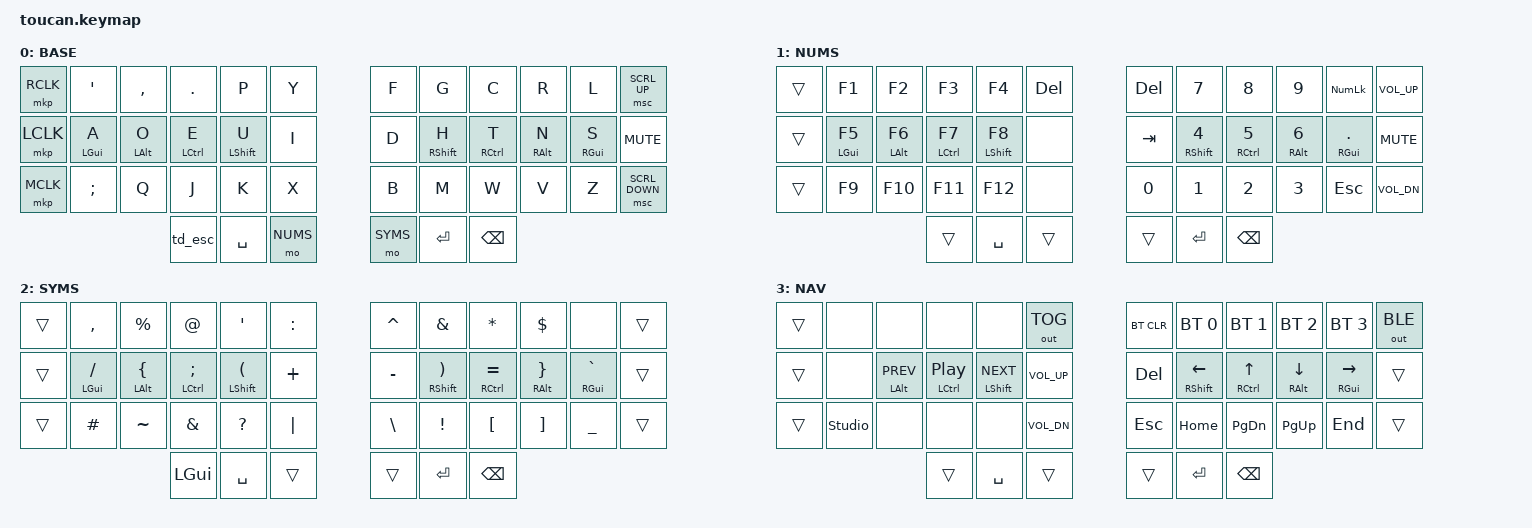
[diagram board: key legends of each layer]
/*
 * Toucan Wireless Piantor keymap
 * Ported from zmk_chocofi corne.keymap (Dvorak + homerow mods)
 * Outer left col:  RCLK / LCLK / MCLK
 * Outer right col: SCRL_UP / MUTE / SCRL_DN  (base); VOL_UP / MUTE / VOL_DN (NUMS)
 */

#include <behaviors.dtsi>
#include <dt-bindings/zmk/keys.h>
#include <dt-bindings/zmk/bt.h>
#include <dt-bindings/zmk/outputs.h>
#include <dt-bindings/zmk/mouse.h>

#define BASE 0
#define NUMS 1
#define SYMS 2
#define NAV  3

/ {
    behaviors {
        hm: homerow_mods {
            compatible = "zmk,behavior-hold-tap";
            #binding-cells = <2>;
            tapping-term-ms = <180>;
            quick-tap-ms = <175>;
            require-prior-idle-ms = <150>;
            flavor = "balanced";
            bindings = <&kp>, <&kp>;
        };
        td_esc: tap_dance_esc {
            compatible = "zmk,behavior-tap-dance";
            #binding-cells = <0>;
            tapping-term-ms = <200>;
            bindings = <&kp ESC>, <&kp TAB>;
        };
    };

    conditional_layers {
        compatible = "zmk,conditional-layers";
        nav_layer {
            if-layers = <NUMS SYMS>;
            then-layer = <NAV>;
        };
    };

    keymap {
        compatible = "zmk,keymap";

        base {
            display-name = "BASE";
// ╭──────┬──────┬──────┬──────┬──────┬──────╮   ╭──────┬──────┬──────┬──────┬──────┬──────╮
// │ RCLK │  '   │  ,   │  .   │  P   │  Y   │   │  F   │  G   │  C   │  R   │  L   │SCR↑  │
// │ LCLK │ A/⌘  │ O/⌥  │ E/⌃  │ U/⇧  │  I   │   │  D   │ H/⇧  │ T/⌃  │ N/⌥  │ S/⌘  │ MUTE │
// │ MCLK │  ;   │  Q   │  J   │  K   │  X   │   │  B   │  M   │  W   │  V   │  Z   │SCR↓  │
// ╰──────┴──────┴──────┼──────┼──────┼──────┤   ├──────┼──────┼──────┼──────┴──────┴──────╯
//                      │ES/TB │ SPC  │ NUMS │   │ SYMS │ ENT  │ BSPC │
//                      ╰──────┴──────┴──────╯   ╰──────┴──────┴──────╯
            bindings = <
   &mkp RCLK     &kp SQT      &kp COMMA    &kp DOT      &kp P        &kp Y      &kp F    &kp G        &kp C        &kp R        &kp L        &msc SCRL_UP
   &mkp LCLK     &hm LGUI A   &hm LALT O   &hm LCTRL E  &hm LSHFT U  &kp I      &kp D    &hm RSHFT H  &hm RCTRL T  &hm RALT N   &hm RGUI S   &kp C_MUTE
   &mkp MCLK     &kp SEMI     &kp Q        &kp J        &kp K        &kp X      &kp B    &kp M        &kp W        &kp V        &kp Z        &msc SCRL_DOWN
                                           &td_esc      &kp SPACE    &mo NUMS   &mo SYMS &kp RET      &kp BSPC
            >;
        };

        nums {
            display-name = "NUMS";
// ╭──────┬──────┬──────┬──────┬──────┬──────╮   ╭──────┬──────┬──────┬──────┬──────┬──────╮
// │      │  F1  │  F2  │  F3  │  F4  │ DEL  │   │ DEL  │  7   │  8   │  9   │ NUM  │ VOLU │
// │      │ F5/⌘ │ F6/⌥ │ F7/⌃ │ F8/⇧ │      │   │ TAB  │ 4/⇧  │ 5/⌃  │ 6/⌥  │ ./⌘  │ MUTE │
// │      │  F9  │  F10 │  F11 │  F12 │      │   │  0   │  1   │  2   │  3   │ ESC  │ VOLD │
// ╰──────┴──────┴──────┼──────┼──────┼──────┤   ├──────┼──────┼──────┼──────┴──────┴──────╯
//                      │      │ SPC  │      │   │      │ ENT  │ BSPC │
//                      ╰──────┴──────┴──────╯   ╰──────┴──────┴──────╯
            bindings = <
   &trans  &kp F1       &kp F2       &kp F3       &kp F4       &kp DEL    &kp DEL  &kp N7       &kp N8       &kp N9       &kp KP_NUM   &kp C_VOL_UP
   &trans  &hm LGUI F5  &hm LALT F6  &hm LCTRL F7 &hm LSHFT F8 &none      &kp TAB  &hm RSHFT N4 &hm RCTRL N5 &hm RALT N6  &hm RGUI DOT &kp C_MUTE
   &trans  &kp F9       &kp F10      &kp F11      &kp F12      &none      &kp N0   &kp N1       &kp N2       &kp N3       &kp ESC      &kp C_VOL_DN
                                     &trans       &kp SPACE    &trans     &trans   &kp RET      &kp BSPC
            >;
        };

        syms {
            display-name = "SYMS";
// ╭──────┬──────┬──────┬──────┬──────┬──────╮   ╭──────┬──────┬──────┬──────┬──────┬──────╮
// │      │  ,   │  %   │  @   │  '   │  :   │   │  ^   │  &   │  *   │  $   │      │      │
// │      │ //⌘  │ {/⌥  │ ;/⌃  │ (/⇧  │  +   │   │  -   │ )/⇧  │ =/⌃  │ }/⌥  │ `/⌘  │      │
// │      │  #   │  ~   │  &   │  ?   │  |   │   │  \   │  !   │  [   │  ]   │  _   │      │
// ╰──────┴──────┴──────┼──────┼──────┼──────┤   ├──────┼──────┼──────┼──────┴──────┴──────╯
//                      │ GUI  │ SPC  │      │   │      │ ENT  │ BSPC │
//                      ╰──────┴──────┴──────╯   ╰──────┴──────┴──────╯
            bindings = <
   &trans  &kp COMMA      &kp PRCNT     &kp AT        &kp SQT       &kp COLON   &kp CARET  &kp AMPS       &kp ASTRK       &kp DLLR      &none          &trans
   &trans  &hm LGUI FSLH  &hm LALT LBRC &hm LCTRL SEMI &hm LSHFT LPAR &kp PLUS  &kp MINUS  &hm RSHFT RPAR &hm RCTRL EQUAL &hm RALT RBRC &hm RGUI GRAVE &trans
   &trans  &kp HASH       &kp TILDE     &kp AMPS      &kp QMARK     &kp PIPE    &kp BSLH   &kp EXCL       &kp LBKT        &kp RBKT      &kp UNDER      &trans
                                        &kp LGUI      &kp SPACE     &trans      &trans     &kp RET        &kp BSPC
            >;
        };

        nav {
            display-name = "NAV";
// ╭──────┬──────┬──────┬──────┬──────┬──────╮   ╭──────┬──────┬──────┬──────┬──────┬──────╮
// │      │      │      │      │      │ TOG  │   │BTCLR │ BT1  │ BT2  │ BT3  │ BT4  │ BLE  │
// │      │      │ PRV/⌥│ PP/⌃ │ NXT/⇧│ VOLU │   │ DEL  │ ←/⇧  │ ↑/⌃  │ ↓/⌥  │ →/⌘  │      │
// │      │UNLCK │      │      │      │ VOLD │   │ ESC  │ HOME │ PGDN │ PGUP │ END  │      │
// ╰──────┴──────┴──────┼──────┼──────┼──────┤   ├──────┼──────┼──────┼──────┴──────┴──────╯
//                      │      │ SPC  │      │   │      │ ENT  │ BSPC │
//                      ╰──────┴──────┴──────╯   ╰──────┴──────┴──────╯
            bindings = <
   &trans  &none          &none           &none          &none           &out OUT_TOG   &bt BT_CLR &bt BT_SEL 0   &bt BT_SEL 1  &bt BT_SEL 2  &bt BT_SEL 3   &out OUT_BLE
   &trans  &none          &hm LALT C_PREV &hm LCTRL C_PP &hm LSHFT C_NEXT &kp C_VOL_UP  &kp DEL   &hm RSHFT LEFT &hm RCTRL UP  &hm RALT DOWN &hm RGUI RIGHT &trans
   &trans  &studio_unlock &none           &none          &none           &kp C_VOL_DN   &kp ESC   &kp HOME       &kp PG_DN     &kp PG_UP     &kp END        &trans
                                          &trans         &kp SPACE       &trans         &trans    &kp RET        &kp BSPC
            >;
        };

        extra_1 {
            status = "reserved";
        };

        extra_2 {
            status = "reserved";
        };

        extra_3 {
            status = "reserved";
        };
    };
};
